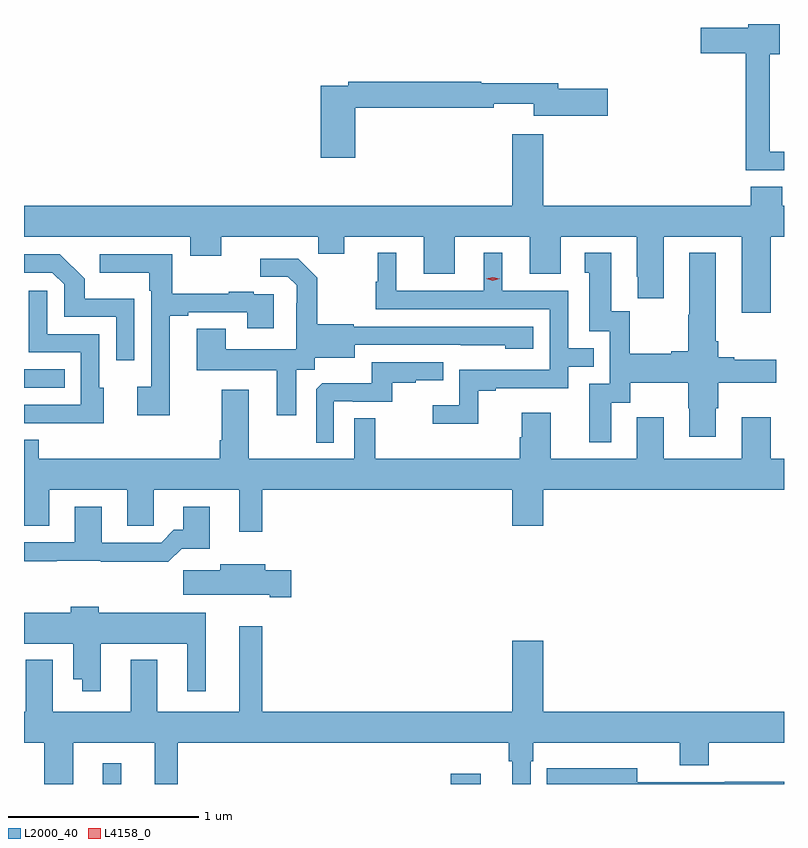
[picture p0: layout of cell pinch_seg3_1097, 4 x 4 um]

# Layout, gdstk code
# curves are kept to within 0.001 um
import gdstk
lib = gdstk.Library(unit=1e-6, precision=1e-09)
def R(c, l, rs):  # rectangles x0, y0, x1, y1
    for r in rs: c.add(gdstk.rectangle(r[:2], r[2:], *l))
def P(c, l, *ps):  # polygons
    for p in ps: c.add(gdstk.Polygon(p, *l))
L2000_40 = (2000, 40)
L4158_0 = (4158, 0)

pinch_seg3_1097 = lib.new_cell('pinch_seg3_1097')
R(pinch_seg3_1097, L2000_40, [(378.638,724.676,378.736,724.786), (380.468,724.676,380.626,724.729), (378.223,726.762,378.437,726.858)])
P(pinch_seg3_1097, L2000_40, [(382.223,728.004),(382.147,728.004),(382.147,728.516),(382.201,728.516),(382.201,728.676),(382.034,728.676),(382.034,728.656),(381.786,728.656),(381.786,728.522),(382.022,728.522),(382.022,727.907),(382.223,727.907)],
  [(379.967,728.236),(380.696,728.236),(380.696,728.255),(380.906,728.255),(380.906,728.194),(381.295,728.194),(381.295,728.336),(381.034,728.336),(381.034,728.365),(380.63,728.365),(380.63,728.372),(379.93,728.372),(379.93,728.352),(379.784,728.352),(379.784,727.971),(379.967,727.971)],
  [(382.154,727.556),(382.223,727.556),(382.223,727.72),(382.214,727.72),(382.214,727.819),(382.049,727.819),(382.049,727.72),(380.956,727.72),(380.956,728.095),(380.792,728.095),(380.792,727.72),(378.223,727.72),(378.223,727.556),(379.097,727.556),(379.097,727.457),(379.261,727.457),(379.261,727.556),(379.771,727.556),(379.771,727.466),(379.909,727.466),(379.909,727.556),(380.327,727.556),(380.327,727.362),(380.491,727.362),(380.491,727.556),(380.885,727.556),(380.885,727.362),(381.049,727.362),(381.049,727.556),(381.449,727.556),(381.449,727.345),(381.452,727.345),(381.452,727.233),(381.589,727.233),(381.589,727.556),(382.001,727.556),(382.001,727.155),(382.154,727.155)],
  [(381.313,726.682),(381.415,726.682),(381.415,726.788),(381.718,726.788),(381.718,726.654),(381.725,726.654),(381.725,726.504),(381.865,726.504),(381.865,726.654),(381.878,726.654),(381.878,726.788),(382.183,726.788),(382.183,726.91),(381.961,726.91),(381.961,726.923),(381.878,726.923),(381.878,727.006),(381.865,727.006),(381.865,727.471),(381.725,727.471),(381.725,727.145),(381.718,727.145),(381.718,726.953),(381.629,726.953),(381.629,726.94),(381.411,726.94),(381.411,727.163),(381.313,727.163),(381.313,727.471),(381.173,727.471),(381.173,727.368),(381.197,727.368),(381.197,727.059),(381.306,727.059),(381.306,726.783),(381.197,726.783),(381.197,726.474),(381.313,726.474)],
  [(380.613,726.747),(380.707,726.747),(380.707,726.759),(381.087,726.759),(381.087,726.873),(381.221,726.873),(381.221,726.969),(381.087,726.969),(381.087,727.272),(380.74,727.272),(380.74,727.471),(380.642,727.471),(380.642,727.272),(380.182,727.272),(380.182,727.471),(380.084,727.471),(380.084,727.32),(380.073,727.32),(380.073,727.176),(380.991,727.176),(380.991,726.855),(380.514,726.855),(380.514,726.67),(380.373,726.67),(380.373,726.572),(380.613,726.572)],
  [(378.991,727.14),(379.087,727.14),(379.087,727.158),(379.397,727.158),(379.397,727.074),(379.537,727.074),(379.537,727.254),(379.433,727.254),(379.433,727.267),(379.301,727.267),(379.301,727.256),(379.003,727.256),(379.003,727.464),(378.621,727.464),(378.621,727.367),(378.882,727.367),(378.882,727.271),(378.894,727.271),(378.894,726.766),(378.819,726.766),(378.819,726.618),(378.991,726.618)],
  [(378.804,727.231),(378.543,727.231),(378.543,727.334),(378.412,727.464),(378.223,727.464),(378.223,727.368),(378.372,727.368),(378.435,727.305),(378.435,727.134),(378.708,727.134),(378.708,726.906),(378.804,726.906)],
  [(379.657,726.856),(379.752,726.856),(379.752,726.92),(379.963,726.92),(379.963,726.987),(380.757,726.986),(380.757,726.968),(380.902,726.968),(380.902,727.083),(379.959,727.083),(379.959,727.096),(379.767,727.096),(379.767,727.341),(379.667,727.441),(379.467,727.441),(379.467,727.347),(379.611,727.347),(379.658,727.3),(379.658,727.205),(379.656,727.205),(379.656,726.964),(379.285,726.964),(379.285,727.073),(379.133,727.073),(379.133,726.854),(379.553,726.854),(379.553,726.618),(379.657,726.618)],
  [(378.643,726.762),(378.618,726.762),(378.618,727.044),(378.345,727.044),(378.345,727.273),(378.249,727.273),(378.249,726.948),(378.522,726.948),(378.522,726.672),(378.223,726.672),(378.223,726.576),(378.425,726.576),(378.425,726.575),(378.643,726.575)],
  [(379.854,726.69),(379.954,726.69),(379.954,726.687),(380.162,726.687),(380.162,726.789),(380.285,726.789),(380.285,726.8),(380.429,726.8),(380.429,726.897),(380.052,726.897),(380.052,726.785),(379.793,726.785),(379.761,726.753),(379.761,726.473),(379.854,726.473)],
  [(379.477,726.224),(380.792,726.224),(380.792,726.036),(380.956,726.036),(380.956,726.224),(382.223,726.224),(382.223,726.388),(382.154,726.388),(382.154,726.607),(382.001,726.607),(382.001,726.388),(381.589,726.388),(381.589,726.607),(381.449,726.607),(381.449,726.388),(380.995,726.388),(380.995,726.631),(380.843,726.631),(380.843,726.501),(380.831,726.501),(380.831,726.388),(380.071,726.388),(380.071,726.602),(379.962,726.602),(379.962,726.388),(379.405,726.388),(379.405,726.751),(379.265,726.751),(379.265,726.484),(379.253,726.484),(379.253,726.388),(378.301,726.388),(378.301,726.487),(378.223,726.487),(378.223,726.034),(378.355,726.034),(378.355,726.224),(378.767,726.224),(378.767,726.034),(378.906,726.034),(378.906,726.224),(379.355,726.224),(379.355,726.003),(379.477,726.003)],
  [(379.052,725.915),(379.201,725.915),(379.201,726.136),(379.061,726.136),(379.061,726.013),(379.012,726.013),(378.945,725.946),(378.631,725.946),(378.631,726.136),(378.491,726.136),(378.491,725.949),(378.223,725.949),(378.223,725.848),(378.395,725.848),(378.395,725.851),(378.627,725.851),(378.627,725.846),(378.983,725.846)],
  [(379.63,725.802),(379.492,725.802),(379.492,725.833),(379.256,725.833),(379.256,725.801),(379.062,725.801),(379.062,725.672),(379.517,725.672),(379.517,725.66),(379.63,725.66)],
  [(378.628,725.414),(379.082,725.414),(379.082,725.163),(379.18,725.163),(379.18,725.578),(378.617,725.578),(378.617,725.608),(378.47,725.608),(378.47,725.578),(378.223,725.578),(378.223,725.414),(378.482,725.414),(378.482,725.228),(378.53,725.228),(378.53,725.163),(378.628,725.163)],
  [(378.481,724.892),(378.911,724.892),(378.911,724.676),(379.033,724.676),(379.033,724.892),(380.773,724.892),(380.773,724.796),(380.792,724.796),(380.792,724.676),(380.889,724.676),(380.889,724.796),(380.903,724.796),(380.903,724.892),(381.674,724.892),(381.674,724.775),(381.827,724.775),(381.827,724.892),(382.223,724.892),(382.223,725.056),(380.956,725.056),(380.956,725.431),(380.792,725.431),(380.792,725.056),(379.477,725.056),(379.477,725.506),(379.355,725.506),(379.355,725.056),(378.925,725.056),(378.925,725.329),(378.785,725.329),(378.785,725.056),(378.373,725.056),(378.373,725.329),(378.233,725.329),(378.233,725.056),(378.223,725.056),(378.223,724.892),(378.329,724.892),(378.329,724.676),(378.481,724.676)],
  [(382.223,724.688),(381.91,724.688),(381.91,724.686),(381.45,724.686),(381.45,724.759),(381.082,724.759),(381.082,724.758),(380.974,724.758),(380.974,724.676),(382.223,724.676)])
P(pinch_seg3_1097, L4158_0, [(380.691,727.324),(380.655,727.334),(380.655,727.334),(380.655,727.335),(380.691,727.344),(380.727,727.335),(380.727,727.334),(380.727,727.334)])

lib.write_gds('pinch_seg3_1097.gds')
